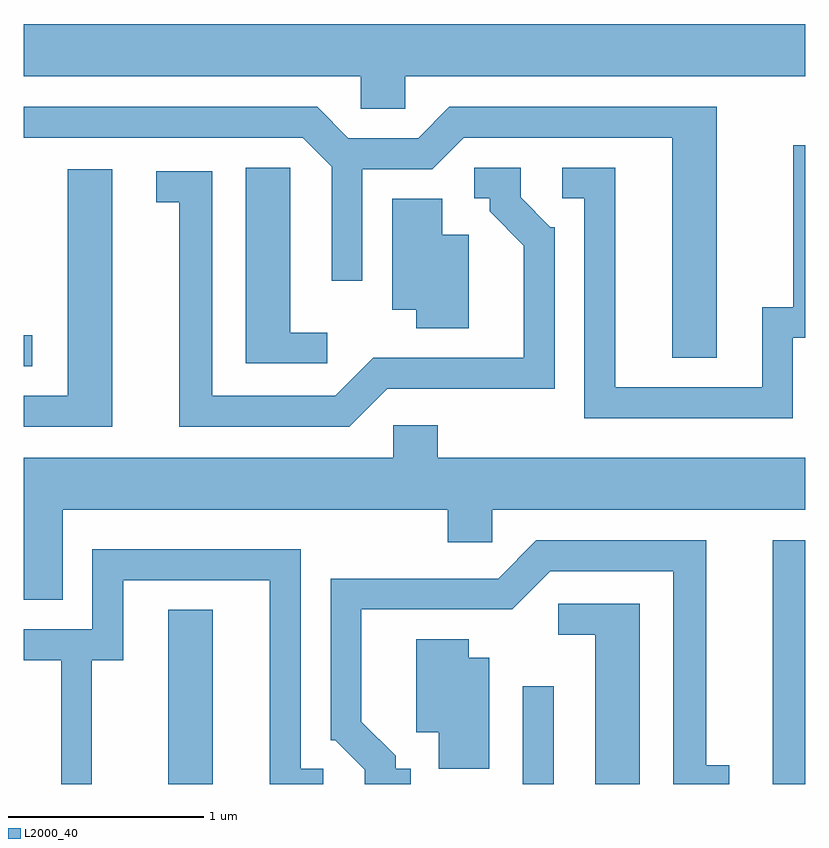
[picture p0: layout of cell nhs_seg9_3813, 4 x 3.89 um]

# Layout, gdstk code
import gdstk
lib = gdstk.Library(unit=1e-6, precision=1e-09)
def R(c, l, rs):  # rectangles x0, y0, x1, y1
    for r in rs: c.add(gdstk.rectangle(r[:2], r[2:], *l))
def P(c, l, *ps):  # polygons
    for p in ps: c.add(gdstk.Polygon(p, *l))
L2000_40 = (2000, 40)

nhs_seg9_3813 = lib.new_cell('nhs_seg9_3813')
R(nhs_seg9_3813, L2000_40, [(298.351,1970.432,298.579,1971.324), (300.166,1970.432,300.324,1970.933), (301.446,1970.432,301.611,1971.679), (297.611,1972.571,297.653,1972.729)])
P(nhs_seg9_3813, L2000_40, [(299.564,1974.056),(301.611,1974.056),(301.611,1974.324),(297.611,1974.324),(297.611,1974.056),(299.336,1974.056),(299.336,1973.891),(299.564,1973.891)],
  [(301.159,1973.899),(299.789,1973.899),(299.629,1973.739),(299.272,1973.739),(299.112,1973.899),(297.611,1973.899),(297.611,1973.741),(299.039,1973.741),(299.186,1973.594),(299.186,1973.008),(299.344,1973.008),(299.344,1973.581),(299.702,1973.581),(299.862,1973.741),(300.931,1973.741),(300.931,1972.616),(301.159,1972.616)],
  [(301.549,1972.716),(301.611,1972.716),(301.611,1973.704),(301.551,1973.704),(301.551,1972.874),(301.391,1972.874),(301.391,1972.464),(300.639,1972.464),(300.639,1973.589),(300.368,1973.589),(300.368,1973.431),(300.481,1973.431),(300.481,1972.306),(301.549,1972.306)],
  [(299.472,1972.456),(300.329,1972.456),(300.329,1973.284),(300.307,1973.284),(300.154,1973.437),(300.154,1973.589),(299.918,1973.589),(299.918,1973.431),(299.996,1973.431),(299.996,1973.364),(300.171,1973.189),(300.171,1972.614),(299.399,1972.614),(299.204,1972.419),(298.574,1972.419),(298.574,1973.569),(298.288,1973.569),(298.288,1973.411),(298.406,1973.411),(298.406,1972.261),(299.277,1972.261)],
  [(299.163,1972.744),(298.974,1972.744),(298.974,1973.589),(298.746,1973.589),(298.746,1972.586),(299.163,1972.586)],
  [(298.064,1973.579),(297.836,1973.579),(297.836,1972.419),(297.611,1972.419),(297.611,1972.261),(298.064,1972.261)],
  [(299.889,1973.244),(299.754,1973.244),(299.754,1973.429),(299.496,1973.429),(299.496,1972.861),(299.621,1972.861),(299.621,1972.766),(299.889,1972.766)],
  [(297.809,1971.836),(299.781,1971.836),(299.781,1971.671),(300.009,1971.671),(300.009,1971.836),(301.611,1971.836),(301.611,1972.104),(299.729,1972.104),(299.729,1972.269),(299.501,1972.269),(299.501,1972.104),(297.611,1972.104),(297.611,1971.376),(297.809,1971.376)],
  [(299.593,1970.509),(299.514,1970.509),(299.514,1970.577),(299.339,1970.752),(299.339,1971.326),(300.112,1971.326),(300.307,1971.521),(300.936,1971.521),(300.936,1970.432),(301.223,1970.432),(301.223,1970.529),(301.104,1970.529),(301.104,1971.679),(300.234,1971.679),(300.039,1971.484),(299.181,1971.484),(299.181,1970.656),(299.204,1970.656),(299.356,1970.504),(299.356,1970.432),(299.593,1970.432)],
  [(297.959,1971.066),(298.119,1971.066),(298.119,1971.476),(298.871,1971.476),(298.871,1970.432),(299.143,1970.432),(299.143,1970.509),(299.029,1970.509),(299.029,1971.634),(297.961,1971.634),(297.961,1971.224),(297.611,1971.224),(297.611,1971.066),(297.801,1971.066),(297.801,1970.432),(297.959,1970.432)],
  [(300.764,1971.354),(300.348,1971.354),(300.348,1971.196),(300.536,1971.196),(300.536,1970.432),(300.764,1970.432)],
  [(299.994,1971.079),(299.889,1971.079),(299.889,1971.174),(299.621,1971.174),(299.621,1970.696),(299.736,1970.696),(299.736,1970.511),(299.994,1970.511)])

lib.write_gds('nhs_seg9_3813.gds')
